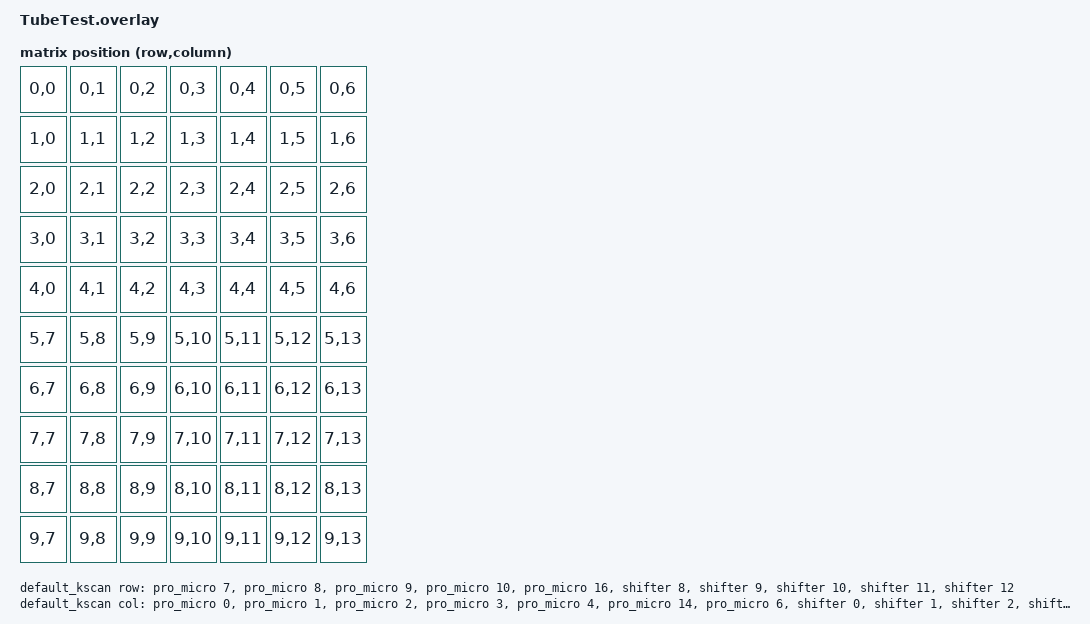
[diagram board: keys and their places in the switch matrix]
#include <dt-bindings/zmk/matrix_transform.h>
#include "TubeTest.dtsi"
/ {

    chosen {
        zmk,kscan = &default_kscan;
        zmk,matrix_transform = &default_transform;
    };


    default_kscan: kscan {
        compatible = "zmk,kscan-gpio-matrix";
        label = "default_kscan";
        diode-direction = "col2row";

        row-gpios = <&pro_micro 7 (GPIO_ACTIVE_HIGH | GPIO_PULL_DOWN)>,
                    <&pro_micro 8 (GPIO_ACTIVE_HIGH | GPIO_PULL_DOWN)>,
                    <&pro_micro 9 (GPIO_ACTIVE_HIGH | GPIO_PULL_DOWN)>,
                    <&pro_micro 10 (GPIO_ACTIVE_HIGH | GPIO_PULL_DOWN)>,
                    <&pro_micro 16 (GPIO_ACTIVE_HIGH | GPIO_PULL_DOWN)>,
                    <&shifter 8 (GPIO_ACTIVE_HIGH | GPIO_PULL_DOWN)>,
                    <&shifter 9 (GPIO_ACTIVE_HIGH | GPIO_PULL_DOWN)>,
                    <&shifter 10 (GPIO_ACTIVE_HIGH | GPIO_PULL_DOWN)>,
                    <&shifter 11 (GPIO_ACTIVE_HIGH | GPIO_PULL_DOWN)>,
                    <&shifter 12 (GPIO_ACTIVE_HIGH | GPIO_PULL_DOWN)>;


        col-gpios = <&pro_micro 0 GPIO_ACTIVE_HIGH>,
                    <&pro_micro 1 GPIO_ACTIVE_HIGH>,
                    <&pro_micro 2 GPIO_ACTIVE_HIGH>,
                    <&pro_micro 3 GPIO_ACTIVE_HIGH>,
                    <&pro_micro 4 GPIO_ACTIVE_HIGH>,
                    <&pro_micro 14 GPIO_ACTIVE_HIGH>,
                    <&pro_micro 6 GPIO_ACTIVE_HIGH>,
                    <&shifter 0 GPIO_ACTIVE_HIGH>,
                    <&shifter 1 GPIO_ACTIVE_HIGH>,
                    <&shifter 2 GPIO_ACTIVE_HIGH>,
                    <&shifter 3 GPIO_ACTIVE_HIGH>,
                    <&shifter 4 GPIO_ACTIVE_HIGH>,
                    <&shifter 5 GPIO_ACTIVE_HIGH>,
                    <&shifter 6 GPIO_ACTIVE_HIGH>;
    };

    default_transform: matrix_transform {
        compatible = "zmk,matrix-transform";
        rows = <10>;
        columns = <14>;

        map = <
            RC(0,0) RC(0,1) RC(0,2) RC(0,3) RC(0,4) RC(0,5) RC(0,6)
            RC(1,0) RC(1,1) RC(1,2) RC(1,3) RC(1,4) RC(1,5) RC(1,6)
            RC(2,0) RC(2,1) RC(2,2) RC(2,3) RC(2,4) RC(2,5) RC(2,6)
            RC(3,0) RC(3,1) RC(3,2) RC(3,3) RC(3,4) RC(3,5) RC(3,6)
            RC(4,0) RC(4,1) RC(4,2) RC(4,3) RC(4,4) RC(4,5) RC(4,6)


            RC(5,7) RC(5,8) RC(5,9) RC(5,10) RC(5,11) RC(5,12) RC(5,13)
            RC(6,7) RC(6,8) RC(6,9) RC(6,10) RC(6,11) RC(6,12) RC(6,13)
            RC(7,7) RC(7,8) RC(7,9) RC(7,10) RC(7,11) RC(7,12) RC(7,13)
            RC(8,7) RC(8,8) RC(8,9) RC(8,10) RC(8,11) RC(8,12) RC(8,13)
            RC(9,7) RC(9,8) RC(9,9) RC(9,10) RC(9,11) RC(9,12) RC(9,13)
        >;
    };
};
